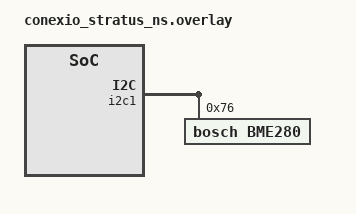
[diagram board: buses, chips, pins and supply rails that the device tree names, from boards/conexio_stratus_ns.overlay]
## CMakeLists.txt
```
#
# Copyright (c) 2018 Nordic Semiconductor ASA
# Copyright (c) 2022 Conexio Technologies, Inc
#
# SPDX-License-Identifier: LicenseRef-Nordic-5-Clause
#

cmake_minimum_required(VERSION 3.20.0)
find_package(Zephyr REQUIRED HINTS $ENV{ZEPHYR_BASE})
project(mqtt-datacake)

target_sources(app PRIVATE src/main.c)

zephyr_include_directories(src)

# Include application events and configuration headers
zephyr_library_include_directories(
  src/env_sensors
  src/watchdog
  src/battery
)

# Application sources
add_subdirectory_ifdef(CONFIG_ENVIRONMENT_SENSORS src/env_sensors)
add_subdirectory_ifdef(CONFIG_WATCHDOG src/watchdog)
add_subdirectory_ifdef(CONFIG_ADC src/battery)
```

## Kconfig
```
#
# Copyright (c) 2020 Nordic Semiconductor ASA
# Copyright (c) 2022 Conexio Technologies, Inc
#
# SPDX-License-Identifier: LicenseRef-Nordic-5-Clause
#

menu "Stratus BME280 to Datacake sample"

config APP_VERSION
	string "Application version"
	default "v1.0.0"

config APPLICATION_WORKQUEUE_STACK_SIZE
	int "Application workqueue stack size"
	default 4096

config APPLICATION_WORKQUEUE_PRIORITY
	int "Application workqueue priority"
	default SYSTEM_WORKQUEUE_PRIORITY

config MQTT_USER
	string "MQTT Client username"
	default "my-client-username"

config MQTT_PASS
	string "MQTT Client password"
	default "my-client-password"

config MQTT_PUB_TOPIC_TEMP
	string "MQTT publish topic temperature data"
	default "my/publish/topic"

config MQTT_PUB_TOPIC_HUM
	string "MQTT publish topic humidity data"
	default "my/publish/topic"

config MQTT_PUB_TOPIC_PRES
	string "MQTT publish topic pressure data"
	default "my/publish/topic"

config MQTT_PUB_TOPIC_VER
	string "MQTT application version"
	default APP_VERSION

config MQTT_PUB_TOPIC_IMEI
	string "MQTT device client ID"
	default "my-client-id"

config MQTT_PUB_TOPIC_BAT
	string "Modem battery voltage"
	default "0"

config MQTT_PUB_TOPIC_RSRP
	string "Modem Reference Signal Received Power"
	default "0"

config MQTT_PUB_TOPIC_BUTTON
	string "Stratus button state"
	default "0"

config MQTT_SUB_TOPIC
	string "MQTT subscribe topic"
	default "my/subscribe/topic"

config MQTT_CLIENT_ID
	string "MQTT Client ID"
	default "my-client-id"

config MQTT_BROKER_HOSTNAME
	string "MQTT broker hostname"
	default "mqtt.eclipseprojects.io"

config MQTT_BROKER_PORT
	int "MQTT broker port"
	default 1883

config MQTT_MESSAGE_BUFFER_SIZE
	int "MQTT message buffer size"
	default 128

config MQTT_PAYLOAD_BUFFER_SIZE
	int "MQTT payload buffer size"
	default 128

config BUTTON_EVENT_PUBLISH_MSG
	string "Default values to publish on a button event"
	default "25.5"

config BUTTON_EVENT_BTN_NUM
	int "The button number"
	default 1

config MQTT_RECONNECT_DELAY_S
	int "Seconds to delay before attempting to reconnect to the broker."
	default 60

config LTE_CONNECT_RETRY_DELAY_S
	int "Seconds to delay before attempting to retry LTE connection."
	default 120

config MQTT_TLS_SEC_TAG
	int "TLS credentials security tag"
	default 24

config MQTT_TLS_SESSION_CACHING
	bool "Enable TLS session caching"

config MQTT_TLS_PEER_VERIFY
	int "Set peer verification level"
	default 0
	help
		Set to 0 for VERIFY_NONE, 1 for VERIFY_OPTIONAL, and 2 for
		VERIFY_REQUIRED.

menuconfig ENVIRONMENT_SENSORS
	bool "Enable environment sensing"
	default y
	help
	  Enables environment sensing with Stratus sensors.

if ENVIRONMENT_SENSORS

config ENVIRONMENT_DATA_SEND_INTERVAL
	int "Interval in seconds for sending environment data"
	default 3600
	help
	  Interval between each sampling and sending of environment sensor data.
	  The unit is seconds.

endif # ENVIRONMENT_SENSORS

config CLOUD_MESSAGE_PUBLICATION_INTERVAL
	int "Sets how often the custom message should be published to cloud, in seconds"
	default 7200

config WATCHDOG_TIMEOUT_MSEC
	int "Watchdog timeout in milliseconds"
	default 60000

endmenu

menu "Zephyr Kernel"
source "Kconfig.zephyr"
endmenu

module = MQTT_DATACAKE
module-str = MQTT Datacake
source "${ZEPHYR_BASE}/subsys/logging/Kconfig.template.log_config"
```

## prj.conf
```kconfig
#
# Copyright (c) 2020 Nordic Semiconductor ASA
# Copyright (c) 2022 Conexio Technologies, Inc
#
# SPDX-License-Identifier: LicenseRef-Nordic-5-Clause
#

# Networking
CONFIG_NETWORKING=y
CONFIG_NET_NATIVE=n
CONFIG_NET_SOCKETS_OFFLOAD=y
CONFIG_NET_SOCKETS=y
CONFIG_NET_SOCKETS_POSIX_NAMES=y

# LTE link control
CONFIG_LTE_LINK_CONTROL=y
CONFIG_LTE_NETWORK_MODE_LTE_M=y
CONFIG_LTE_AUTO_INIT_AND_CONNECT=n

# LTE parameters
## PSM
CONFIG_LTE_PSM_REQ_RPTAU="00100001"
CONFIG_LTE_PSM_REQ_RAT="00000000"

## eDRX
CONFIG_LTE_EDRX_REQ_VALUE_LTE_M="1001"

# Modem library
CONFIG_NRF_MODEM_LIB=y

# Modem info
CONFIG_MODEM_INFO=y

# AT Host
CONFIG_UART_INTERRUPT_DRIVEN=y
CONFIG_AT_HOST_LIBRARY=y

# MQTT
CONFIG_MQTT_LIB=y
CONFIG_MQTT_LIB_TLS=y
CONFIG_MQTT_CLEAN_SESSION=y
CONFIG_MQTT_KEEPALIVE=1200

# Modem key management, for provisioning certificates
CONFIG_MODEM_KEY_MGMT=y

# MQTT application configuration authentication
CONFIG_MQTT_PASS=""
CONFIG_MQTT_USER=""

# MQTT topics for recording measurement values
# Change this as per your Datacake MQTT Integration and fields
CONFIG_MQTT_PUB_TOPIC_TEMP="dtck-pub/conexio-stratus/4fbfe839-c8aa-4882-a890-02f981753f6d/TEMPERATURE"
CONFIG_MQTT_PUB_TOPIC_HUM="dtck-pub/conexio-stratus/4fbfe839-c8aa-4882-a890-02f981753f6d/HUMIDITY"
CONFIG_MQTT_PUB_TOPIC_PRES="dtck-pub/conexio-stratus/4fbfe839-c8aa-4882-a890-02f981753f6d/PRESSURE"
CONFIG_MQTT_PUB_TOPIC_VER="dtck-pub/conexio-stratus/4fbfe839-c8aa-4882-a890-02f981753f6d/VERSION"
CONFIG_MQTT_PUB_TOPIC_IMEI="dtck-pub/conexio-stratus/4fbfe839-c8aa-4882-a890-02f981753f6d/IMEI"
CONFIG_MQTT_PUB_TOPIC_BAT="dtck-pub/conexio-stratus/4fbfe839-c8aa-4882-a890-02f981753f6d/BATTERY"
CONFIG_MQTT_PUB_TOPIC_RSRP="dtck-pub/conexio-stratus/4fbfe839-c8aa-4882-a890-02f981753f6d/RSRP"
CONFIG_MQTT_PUB_TOPIC_BUTTON="dtck-pub/conexio-stratus/4fbfe839-c8aa-4882-a890-02f981753f6d/BUTTON"

# MQTT subscription topics
CONFIG_MQTT_SUB_TOPIC="dtck/conexio-stratus/4fbfe839-c8aa-4882-a890-02f981753f6d/+"

# MQTT broker configuration
CONFIG_MQTT_BROKER_HOSTNAME="mqtt.datacake.co"
CONFIG_MQTT_BROKER_PORT=8883

# Stratus Sensors
CONFIG_I2C=y
CONFIG_SENSOR=y

# Enable BME280 sensor
CONFIG_BME280=y
CONFIG_SENSOR_LOG_LEVEL_DBG=y

# Enable watchdog timer
CONFIG_WATCHDOG=y

# Enable fuel guage
CONFIG_ADC=y

# Button support
CONFIG_DK_LIBRARY=y

# Library that maintains the current date time UTC.
CONFIG_DATE_TIME=y

CONFIG_CBPRINTF_FP_SUPPORT=y

# Enable logging
CONFIG_LOG=y
CONFIG_MQTT_DATACAKE_LOG_LEVEL_DBG=y

# Memory
CONFIG_MAIN_STACK_SIZE=4096
CONFIG_HEAP_MEM_POOL_SIZE=2048

# Enable Zephyr application to be booted by MCUboot
CONFIG_BOOTLOADER_MCUBOOT=y

# NewLib C
CONFIG_NEWLIB_LIBC=y
```

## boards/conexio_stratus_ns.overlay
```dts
/*
 * Copyright (c) 2022 Conexio Technologies, Inc
 *
 * SPDX-License-Identifier: Apache-2.0
 */

/*
 * Example configuration of a BME280 MIKROE-1978 Click board on Stratus Shield I2C bus.
 *
 * Device address is 0x76. Your device may have a different
 * address; check your device documentation if unsure.
 */
&i2c1 {
	status = "okay";
	bme280@76 {
		compatible = "bosch,bme280";
		reg = <0x76>;
		label = "BME280";
	};
};
```

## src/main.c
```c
/*
 * Copyright (c) 2018 Nordic Semiconductor ASA
 * Copyright (c) 2021 Conexio Technologies, Inc
 * 
 * SPDX-License-Identifier: LicenseRef-Nordic-5-Clause
 */

#include <zephyr.h>
#include <stdio.h>
#include <drivers/uart.h>
#include <string.h>
#include <random/rand32.h>
#include <net/mqtt.h>
#include <nrf_modem.h>
#include <net/socket.h>
#include <modem/lte_lc.h>
#include <modem/at_cmd.h>
#include <modem/at_notif.h>
#include <modem/modem_info.h>
#include <logging/log.h>
#if defined(CONFIG_MODEM_KEY_MGMT)
#include <modem/modem_key_mgmt.h>
#endif
#if defined(CONFIG_LWM2M_CARRIER)
#include <lwm2m_carrier.h>
#endif
#include <dk_buttons_and_leds.h>

#include "certificates.h"
#include "env_sensors.h"
#include "watchdog.h"
#include "battery.h"

#include <math.h>
#include <stdlib.h>

LOG_MODULE_REGISTER(mqtt_app, CONFIG_MQTT_DATACAKE_LOG_LEVEL);

static struct k_work_delayable cloud_update_work;

/* Define the length of the IMEI AT COMMAND response buffer */
#define CGSN_RESP_LEN 19
#define IMEI_LEN 20
uint8_t client_id[IMEI_LEN];

/* Stratus button state data. Not pressed on default */
char button_state_data[] = "0";

/* Buffers for MQTT client. */
static uint8_t rx_buffer[CONFIG_MQTT_MESSAGE_BUFFER_SIZE];
static uint8_t tx_buffer[CONFIG_MQTT_MESSAGE_BUFFER_SIZE];
static uint8_t payload_buf[CONFIG_MQTT_PAYLOAD_BUFFER_SIZE];

/* The mqtt client struct */
static struct mqtt_client client;

/* MQTT Broker details. */
static struct sockaddr_storage broker;

/* File descriptor */
static struct pollfd fds;

/* Struct that holds data from the modem information module. */
static struct modem_param_info modem_param;
/* Value that always holds the latest RSRP value. */
int32_t rsrp_value_latest;

/* Stack definition for application workqueue */
K_THREAD_STACK_DEFINE(application_stack_area,
		      CONFIG_APPLICATION_WORKQUEUE_STACK_SIZE);
static struct k_work_q application_work_q;

/* Forward declaration of functions */
#if defined(CONFIG_ENVIRONMENT_SENSORS)
static void env_data_send(void);
#endif
static void sensors_init(void);

static int data_publish(struct mqtt_client *c, enum mqtt_qos qos, 
			char *pub_topic, uint8_t *data, size_t len);

#if CONFIG_MODEM_INFO
static void modem_rsrp_data_send(void);
#endif /* CONFIG_MODEM_INFO */

#if defined(CONFIG_APP_VERSION)
/**@brief Send application version information to Datacake. */
static void app_version_info_send(void)
{
	int err;
	err = data_publish(&client,
					MQTT_QOS_1_AT_LEAST_ONCE,
					CONFIG_MQTT_PUB_TOPIC_VER,
					CONFIG_APP_VERSION,
					sizeof(CONFIG_APP_VERSION)-1);

	if (err) {
		LOG_ERR("Publishing of app_version_info failed: %d", err);
	}
}
#endif /* CONFIG_APP_VERSION */

/* Publish the Stratus button state */
static void button_state_info_send(void)
{
	int err;
	err = data_publish(&client,
					MQTT_QOS_1_AT_LEAST_ONCE,
					CONFIG_MQTT_PUB_TOPIC_BUTTON,
					button_state_data,
					sizeof(button_state_data)-1);

	if (err) {
		LOG_ERR("Publishing of button_state_data failed: %d", err);
	}	
}

/**@brief Send client ID information to Datacake. */
static void client_id_send(void)
{
	int err;
	err = data_publish(&client,
					MQTT_QOS_1_AT_LEAST_ONCE,
					CONFIG_MQTT_PUB_TOPIC_IMEI,
					client_id,
					strlen(client_id));

	if (err) {
		LOG_ERR("Publishing of client_id failed: %d", err);
	}
}

/* Request battery voltage data from the fuel guage circuit and publish to cloud */
static void modem_battery_voltage_send(void)
{
	int err;
	int16_t bat_voltage = 0;
	char buf[CONFIG_MQTT_PAYLOAD_BUFFER_SIZE] = {0};

	bat_voltage = battery_sample();

	if (bat_voltage < 0) {
		LOG_ERR("Failed to read battery voltage: %d\n", bat_voltage);
	}
	else 
	{
		LOG_INF("Device battery: %d mV", bat_voltage);
	}

	/* Composes a string formatting for the data */
	snprintf(buf, sizeof(buf),"%u", bat_voltage);

	err = data_publish(&client,
					MQTT_QOS_1_AT_LEAST_ONCE,
					CONFIG_MQTT_PUB_TOPIC_BAT,
					buf,
					strlen(buf)); //since MQTT publishes string format

	if (err) {
		LOG_ERR("Publishing of batt volt failed: %d", err);
	}
}

#if defined(CONFIG_ENVIRONMENT_SENSORS)
/**@brief Get environment data from sensors and send to cloud. */
static void env_data_send(void)
{
	int err;
	env_sensor_data_t env_data;
	char buf[CONFIG_MQTT_PAYLOAD_BUFFER_SIZE] = {0};

	env_sensors_set_backoff_enable(false);

	if (env_sensors_get_temperature(&env_data) == 0) {
		/* Sanity check to make sure data is actually from temperature sensor */
		if(env_data.type == ENV_SENSOR_TEMPERATURE){

			snprintk(buf, sizeof(buf),"%.2f", env_data.value);
			err = data_publish(&client,
					MQTT_QOS_1_AT_LEAST_ONCE,
					CONFIG_MQTT_PUB_TOPIC_TEMP,
					buf,
					strlen(buf));

			if (err) {
				goto error;
			}
		}	
	}

	if (env_sensors_get_humidity(&env_data) == 0) {
		/* Sanity check to make sure data is actually from humidity sensor */
		if(env_data.type == ENV_SENSOR_HUMIDITY){
			snprintk(buf, sizeof(buf),"%.2f", env_data.value);
			err = data_publish(&client,
					MQTT_QOS_1_AT_LEAST_ONCE,
					CONFIG_MQTT_PUB_TOPIC_HUM,
					buf,
					strlen(buf));

			if (err) {
				goto error;
			}
		}
	}

	if (env_sensors_get_pressure(&env_data) == 0) {
		/* Sanity check to make sure data is actually from humidity sensor */
		if(env_data.type == ENV_SENSOR_AIR_PRESSURE){
			snprintk(buf, sizeof(buf),"%.2f", env_data.value);
			err = data_publish(&client,
					MQTT_QOS_1_AT_LEAST_ONCE,
					CONFIG_MQTT_PUB_TOPIC_PRES,
					buf,
					strlen(buf));

			if (err) {
				goto error;
			}
		}
	}

	return;
error:
	LOG_ERR("sensor_data_send failed: %d", err);
}
#endif /* CONFIG_ENVIRONMENT_SENSORS */

/* Periodically Update the cloud with the device vitals */
static void cloud_update_work_fn(struct k_work *work)
{
	LOG_INF("Sending device vitals to cloud at intervals of %d sec", 
			CONFIG_CLOUD_MESSAGE_PUBLICATION_INTERVAL);

	modem_battery_voltage_send();
	modem_rsrp_data_send();
	button_state_info_send();

	k_work_schedule(
			&cloud_update_work,
			K_SECONDS(CONFIG_CLOUD_MESSAGE_PUBLICATION_INTERVAL));
}

static void work_init(void)
{
	k_work_init_delayable(&cloud_update_work, cloud_update_work_fn);
}

/**@brief Initializes the sensors that are used by the application. */
static void sensors_init(void)
{
#if defined(CONFIG_ENVIRONMENT_SENSORS)
	env_sensors_init_and_start(&application_work_q, env_data_send);
#endif /* CONFIG_ENVIRONMENT_SENSORS */

}
#if defined(CONFIG_MQTT_LIB_TLS)
static int certificates_provision(void)
{
	int err = 0;

	LOG_INF("Provisioning certificates");

#if defined(CONFIG_NRF_MODEM_LIB) && defined(CONFIG_MODEM_KEY_MGMT)

	err = modem_key_mgmt_write(CONFIG_MQTT_TLS_SEC_TAG,
				   MODEM_KEY_MGMT_CRED_TYPE_CA_CHAIN,
				   CA_CERTIFICATE,
				   strlen(CA_CERTIFICATE));
	if (err) {
		LOG_ERR("Failed to provision CA certificate: %d", err);
		return err;
	}

#elif defined(CONFIG_BOARD_QEMU_X86) && defined(CONFIG_NET_SOCKETS_SOCKOPT_TLS)

	err = tls_credential_add(CONFIG_MQTT_TLS_SEC_TAG,
				 TLS_CREDENTIAL_CA_CERTIFICATE,
				 CA_CERTIFICATE,
				 sizeof(CA_CERTIFICATE));
	if (err) {
		LOG_ERR("Failed to register CA certificate: %d", err);
		return err;
	}

#endif

	return err;
}
#endif /* defined(CONFIG_MQTT_LIB_TLS) */

#if defined(CONFIG_NRF_MODEM_LIB)

/**@brief Recoverable modem library error. */
void nrf_modem_recoverable_error_handler(uint32_t err)
{
	LOG_ERR("Modem library recoverable error: %u", (unsigned int)err);
}

#endif /* defined(CONFIG_NRF_MODEM_LIB) */

#if defined(CONFIG_LWM2M_CARRIER)
K_SEM_DEFINE(carrier_registered, 0, 1);
int lwm2m_carrier_event_handler(const lwm2m_carrier_event_t *event)
{
	switch (event->type) {
	case LWM2M_CARRIER_EVENT_BSDLIB_INIT:
		LOG_INF("LWM2M_CARRIER_EVENT_BSDLIB_INIT");
		break;
	case LWM2M_CARRIER_EVENT_CONNECTING:
		LOG_INF("LWM2M_CARRIER_EVENT_CONNECTING");
		break;
	case LWM2M_CARRIER_EVENT_CONNECTED:
		LOG_INF("LWM2M_CARRIER_EVENT_CONNECTED");
		break;
	case LWM2M_CARRIER_EVENT_DISCONNECTING:
		LOG_INF("LWM2M_CARRIER_EVENT_DISCONNECTING");
		break;
	case LWM2M_CARRIER_EVENT_DISCONNECTED:
		LOG_INF("LWM2M_CARRIER_EVENT_DISCONNECTED");
		break;
	case LWM2M_CARRIER_EVENT_BOOTSTRAPPED:
		LOG_INF("LWM2M_CARRIER_EVENT_BOOTSTRAPPED");
		break;
	case LWM2M_CARRIER_EVENT_REGISTERED:
		LOG_INF("LWM2M_CARRIER_EVENT_REGISTERED");
		k_sem_give(&carrier_registered);
		break;
	case LWM2M_CARRIER_EVENT_DEFERRED:
		LOG_INF("LWM2M_CARRIER_EVENT_DEFERRED");
		break;
	case LWM2M_CARRIER_EVENT_FOTA_START:
		LOG_INF("LWM2M_CARRIER_EVENT_FOTA_START");
		break;
	case LWM2M_CARRIER_EVENT_REBOOT:
		LOG_INF("LWM2M_CARRIER_EVENT_REBOOT");
		break;
	case LWM2M_CARRIER_EVENT_LTE_READY:
		LOG_INF("LWM2M_CARRIER_EVENT_LTE_READY");
		break;
	case LWM2M_CARRIER_EVENT_ERROR:
		LOG_ERR("LWM2M_CARRIER_EVENT_ERROR: code %d, value %d",
			((lwm2m_carrier_event_error_t *)event->data)->code,
			((lwm2m_carrier_event_error_t *)event->data)->value);
		break;
	default:
		LOG_WRN("Unhandled LWM2M_CARRIER_EVENT: %d", event->type);
		break;
	}

	return 0;
}
#endif /* defined(CONFIG_LWM2M_CARRIER) */

/**@brief Function to print strings without null-termination
 */
static void data_print(uint8_t *prefix, uint8_t *data, size_t len)
{
	char buf[len + 1];

	memcpy(buf, data, len);
	buf[len] = 0;
	LOG_INF("%s%s", log_strdup(prefix), log_strdup(buf));
}

/**@brief Function to publish data on the configured topic */
static int data_publish(struct mqtt_client *c, enum mqtt_qos qos, char *pub_topic,
	uint8_t *data, size_t len)
{
	struct mqtt_publish_param param;

	param.message.topic.qos = qos;
	param.message.topic.topic.utf8 = (uint8_t *)pub_topic;
	param.message.topic.topic.size = strlen(param.message.topic.topic.utf8);
	param.message.payload.data = data;
	param.message.payload.len = len;
	param.message_id = sys_rand32_get();
	param.dup_flag = 0;
	param.retain_flag = 0;

	data_print("Publishing: ", data, len);
	LOG_INF("to topic: %s len: %u",
		param.message.topic.topic.utf8, param.message.topic.topic.size);

    return mqtt_publish(c, &param);
}

/**@brief Function to subscribe to the configured topic
 */
static int subscribe(void)
{
	struct mqtt_topic subscribe_topic = {
		.topic = {
			.utf8 = CONFIG_MQTT_SUB_TOPIC,
			.size = strlen(CONFIG_MQTT_SUB_TOPIC)
		},
		.qos = MQTT_QOS_1_AT_LEAST_ONCE
	};

	const struct mqtt_subscription_list subscription_list = {
		.list = &subscribe_topic,
		.list_count = 1,
		.message_id = 1234
	};

	LOG_INF("Subscribing to: %s len %u", CONFIG_MQTT_SUB_TOPIC,
		(unsigned int)strlen(CONFIG_MQTT_SUB_TOPIC));

	return mqtt_subscribe(&client, &subscription_list);
}

/**@brief Function to read the published payload */
static int publish_get_payload(struct mqtt_client *c, size_t length)
{
	if (length > sizeof(payload_buf)) {
		return -EMSGSIZE;
	}

	return mqtt_readall_publish_payload(c, payload_buf, length);
}

/**@brief MQTT client event handler */
void mqtt_evt_handler(struct mqtt_client *const c,
		      const struct mqtt_evt *evt)
{
	int err;

	switch (evt->type) {
	case MQTT_EVT_CONNACK:
		if (evt->result != 0) {
			LOG_ERR("MQTT connect failed: %d", evt->result);
			break;
		}

		LOG_INF("MQTT client connected");
		subscribe();
		break;

	case MQTT_EVT_DISCONNECT:
		LOG_INF("MQTT client disconnected: %d", evt->result);
		break;

	case MQTT_EVT_PUBLISH: {
		const struct mqtt_publish_param *p = &evt->param.publish;

		LOG_INF("MQTT PUBLISH result=%d len=%d",
			evt->result, p->message.payload.len);

		err = publish_get_payload(c, p->message.payload.len);

		if (p->message.topic.qos == MQTT_QOS_1_AT_LEAST_ONCE) {
			const struct mqtt_puback_param ack = {
				.message_id = p->message_id
			};

			/* Send acknowledgment. */
			mqtt_publish_qos1_ack(&client, &ack);
		}

		if (err >= 0) {
			data_print("Received: ", payload_buf,
				p->message.payload.len);
		} else {
			LOG_ERR("publish_get_payload failed: %d", err);
			LOG_INF("Disconnecting MQTT client...");

			err = mqtt_disconnect(c);
			if (err) {
				LOG_ERR("Could not disconnect: %d", err);
			}
		}
	} break;

	case MQTT_EVT_PUBACK:
		if (evt->result != 0) {
			LOG_ERR("MQTT PUBACK error: %d", evt->result);
			break;
		}

		LOG_INF("PUBACK packet id: %u", evt->param.puback.message_id);
		break;

	case MQTT_EVT_SUBACK:
		if (evt->result != 0) {
			LOG_ERR("MQTT SUBACK error: %d", evt->result);
			break;
		}

		LOG_INF("SUBACK packet id: %u", evt->param.suback.message_id);
		break;

	case MQTT_EVT_PINGRESP:
		if (evt->result != 0) {
			LOG_ERR("MQTT PINGRESP error: %d", evt->result);
		}
		break;

	default:
		LOG_INF("Unhandled MQTT event type: %d", evt->type);
		break;
	}
}

/**@brief Resolves the configured hostname and
 * initializes the MQTT broker structure
 */
static int broker_init(void)
{
	int err;
	struct addrinfo *result;
	struct addrinfo *addr;
	struct addrinfo hints = {
		.ai_family = AF_INET,
		.ai_socktype = SOCK_STREAM
	};

	err = getaddrinfo(CONFIG_MQTT_BROKER_HOSTNAME, NULL, &hints, &result);
	if (err) {
		LOG_ERR("getaddrinfo failed: %d", err);
		return -ECHILD;
	}

	addr = result;

	/* Look for address of the broker. */
	while (addr != NULL) {
		/* IPv4 Address. */
		if (addr->ai_addrlen == sizeof(struct sockaddr_in)) {
			struct sockaddr_in *broker4 =
				((struct sockaddr_in *)&broker);
			char ipv4_addr[NET_IPV4_ADDR_LEN];

			broker4->sin_addr.s_addr =
				((struct sockaddr_in *)addr->ai_addr)
				->sin_addr.s_addr;
			broker4->sin_family = AF_INET;
			broker4->sin_port = htons(CONFIG_MQTT_BROKER_PORT);

			inet_ntop(AF_INET, &broker4->sin_addr.s_addr,
				  ipv4_addr, sizeof(ipv4_addr));
			LOG_INF("IPv4 Address found %s", log_strdup(ipv4_addr));

			break;
		} else {
			LOG_ERR("ai_addrlen = %u should be %u or %u",
				(unsigned int)addr->ai_addrlen,
				(unsigned int)sizeof(struct sockaddr_in),
				(unsigned int)sizeof(struct sockaddr_in6));
		}

		addr = addr->ai_next;
	}

	/* Free the address. */
	freeaddrinfo(result);

	return err;
}

/**@brief Get the device IMEI number/ID */
static const uint8_t* client_id_get(void)
{
	enum at_cmd_state at_state;
	char imei_buf[CGSN_RESP_LEN];
	int err;

	/* Initialize AT CMD driver */
	err = at_cmd_init();
	if (err) {
		LOG_ERR("at_cmd failed to initialize, error: %d", err);
	}
    /* Write AT command, read and store the IMEI number */
	err = at_cmd_write("AT+CGSN", imei_buf, sizeof(imei_buf), &at_state);

	if (err) {
		LOG_ERR("Error when trying to do at_cmd_write: %d, at_state: %d",
			err, at_state);
	}
	snprintf(client_id, sizeof(client_id), "%s", imei_buf);

	return client_id;
}

/**@brief Initialize the MQTT client structure */
static int client_init(struct mqtt_client *client)
{
	int err;

	mqtt_client_init(client);

	err = broker_init();
	if (err) {
		LOG_ERR("Failed to initialize broker connection");
		return err;
	}
    
	/* Fetch the client ID which will be stored in client_id buffer*/
	LOG_INF("client_id: %s", log_strdup(client_id_get()));

	struct mqtt_utf8 pass, user;
	pass.utf8 = (uint8_t *)CONFIG_MQTT_PASS;
	pass.size = strlen(pass.utf8);

	user.utf8 = (uint8_t *)CONFIG_MQTT_USER;
	user.size = strlen(user.utf8);

	/* MQTT client configuration */
	client->broker = &broker;
	client->evt_cb = mqtt_evt_handler;
	client->client_id.utf8 = (uint8_t *)CONFIG_MQTT_CLIENT_ID;
	client->client_id.size = strlen(CONFIG_MQTT_CLIENT_ID);
	client->password = &pass;
	client->user_name = &user;
	client->protocol_version = MQTT_VERSION_3_1_1;

	/* MQTT buffers configuration */
	client->rx_buf = rx_buffer;
	client->rx_buf_size = sizeof(rx_buffer);
	client->tx_buf = tx_buffer;
	client->tx_buf_size = sizeof(tx_buffer);

	/* MQTT transport configuration */
#if defined(CONFIG_MQTT_LIB_TLS)
	struct mqtt_sec_config *tls_cfg = &(client->transport).tls.config;
	static sec_tag_t sec_tag_list[] = { CONFIG_MQTT_TLS_SEC_TAG };

	LOG_INF("TLS enabled");
	client->transport.type = MQTT_TRANSPORT_SECURE;

	tls_cfg->peer_verify = CONFIG_MQTT_TLS_PEER_VERIFY;
	tls_cfg->cipher_count = 0;
	tls_cfg->cipher_list = NULL;
	tls_cfg->sec_tag_count = ARRAY_SIZE(sec_tag_list);
	tls_cfg->sec_tag_list = sec_tag_list;
	tls_cfg->hostname = CONFIG_MQTT_BROKER_HOSTNAME;

#if defined(CONFIG_NRF_MODEM_LIB)
	tls_cfg->session_cache = IS_ENABLED(CONFIG_MQTT_TLS_SESSION_CACHING) ?
					    TLS_SESSION_CACHE_ENABLED :
					    TLS_SESSION_CACHE_DISABLED;
#else
	/* TLS session caching is not supported by the Zephyr network stack */
	tls_cfg->session_cache = TLS_SESSION_CACHE_DISABLED;

#endif

#else
	client->transport.type = MQTT_TRANSPORT_NON_SECURE;
#endif

	return err;
}

/**@brief Initialize the file descriptor structure used by poll */
static int fds_init(struct mqtt_client *c)
{
	if (c->transport.type == MQTT_TRANSPORT_NON_SECURE) {
		fds.fd = c->transport.tcp.sock;
	} else {
#if defined(CONFIG_MQTT_LIB_TLS)
		fds.fd = c->transport.tls.sock;
#else
		return -ENOTSUP;
#endif
	}

	fds.events = POLLIN;

	return 0;
}

/* Publish device data on button press */
static void button_handler(uint32_t button_states, uint32_t has_changed)
{
	if (has_changed & button_states & BIT(CONFIG_BUTTON_EVENT_BTN_NUM - 1)) {
		button_state_data[0] = '1';
		
		app_version_info_send();
		client_id_send();
		env_data_send();

		k_work_schedule(&cloud_update_work, K_NO_WAIT);
	}
	else {
		button_state_data[0] = '0';
	}
}

#if CONFIG_MODEM_INFO
static void modem_rsrp_handler(char rsrp_value)
{
	/* RSRP raw values that represent actual signal strength are
	 * 0 through 97 (per "nRF91 AT Commands" v1.1).
	 */
	if (rsrp_value > 97) {
		return;
	}
	/* Set temporary variable to hold RSRP value. RSRP callbacks and other
	 * data from the modem info module are retrieved separately.
	 * This temporarily saves the latest value which are sent to
	 * the Data module upon a modem data request.
	 */
	rsrp_value_latest = rsrp_value;

	LOG_DBG("Incoming RSRP status message, RSRP value is %d",
		rsrp_value_latest);
}

/**@brief Publish RSRP data to the cloud. */
static void modem_rsrp_data_send(void)
{
	int err;
	char buf[CONFIG_MQTT_PAYLOAD_BUFFER_SIZE] = {0};
	static int32_t rsrp_prev; /* RSRP value last sent to cloud */
	int32_t rsrp_current;

	/* The RSRP value is copied locally to avoid any race condition */
	/* Take into account the RSRP offset value */
	rsrp_current = rsrp_value_latest - MODEM_INFO_RSRP_OFFSET_VAL;

	LOG_INF("RSRP: %d", rsrp_current);
    
	/* If last sent data to cloud is same as current, skip publishing */
	if (rsrp_current == rsrp_prev) {
		return;
	}
	
	snprintf(buf, sizeof(buf),"%d", rsrp_current);
	err = data_publish(&client,
					MQTT_QOS_1_AT_LEAST_ONCE,
					CONFIG_MQTT_PUB_TOPIC_RSRP,
					buf,
					strlen(buf));

	if (err) {
		LOG_ERR("Publishing of RSRP info failed: %d", err);
	}
	rsrp_prev = rsrp_current;
}

static int modem_data_init(void)
{
	int err;

	err = modem_info_init();
	if (err) {
		LOG_INF("modem_info_init, error: %d", err);
		return err;
	}

	err = modem_info_params_init(&modem_param);
	if (err) {
		LOG_INF("modem_info_params_init, error: %d", err);
		return err;
	}

	err = modem_info_rsrp_register(modem_rsrp_handler);
	if (err) {
		LOG_INF("modem_info_rsrp_register, error: %d", err);
		return err;
	}

	return 0;
}
#endif /* CONFIG_MODEM_INFO */

/**@brief Configures modem to provide LTE link. Blocks until link is
 * successfully established.
 */
static int modem_configure(void)
{
	LOG_INF("Enabling PSM and eDRX");
	lte_lc_psm_req(true);
	lte_lc_edrx_req(true);

#if defined(CONFIG_LTE_LINK_CONTROL)
	if (IS_ENABLED(CONFIG_LTE_AUTO_INIT_AND_CONNECT)) {
		/* Do nothing, modem is already turned on
		 * and connected.
		 */
	} else {
#if defined(CONFIG_LWM2M_CARRIER)
		/* Wait for the LWM2M_CARRIER to configure the modem and
		 * start the connection.
		 */
		LOG_INF("Waitng for carrier registration...");
		k_sem_take(&carrier_registered, K_FOREVER);
		LOG_INF("Registered!");
#else /* defined(CONFIG_LWM2M_CARRIER) */
		int err;

		LOG_INF("LTE Link Connecting...");
		err = lte_lc_init_and_connect();
		if (err) {
			LOG_INF("Failed to establish LTE connection: %d", err);
			return err;
		}
		LOG_INF("LTE Link Connected!");
#endif /* defined(CONFIG_LWM2M_CARRIER) */
	}
#endif /* defined(CONFIG_LTE_LINK_CONTROL) */

	return 0;
}

void main(void)
{
	int err;
	uint32_t connect_attempt = 0;

	LOG_INF("Stratus BME280 -> Datacake sample started, version: %s", CONFIG_APP_VERSION);

	k_work_queue_start(&application_work_q, application_stack_area,
		       K_THREAD_STACK_SIZEOF(application_stack_area),
		       CONFIG_APPLICATION_WORKQUEUE_PRIORITY, NULL);

	if (IS_ENABLED(CONFIG_WATCHDOG)) {
		watchdog_init_and_start(&application_work_q);
	}

#if defined(CONFIG_MQTT_LIB_TLS)
	err = certificates_provision();
	if (err != 0) {
		LOG_ERR("Failed to provision certificates");
		return;
	}
#endif /* defined(CONFIG_MQTT_LIB_TLS) */

	do {
		err = modem_configure();
		if (err) {
			LOG_INF("Retrying in %d seconds",
				CONFIG_LTE_CONNECT_RETRY_DELAY_S);
			k_sleep(K_SECONDS(CONFIG_LTE_CONNECT_RETRY_DELAY_S));
		}
	} while (err);

#if CONFIG_MODEM_INFO
	err = modem_data_init();
	if (err) {
		LOG_ERR("modem_data_init, error: %d\n", err);
	}
#endif /* CONFIG_MODEM_INFO */

	err = client_init(&client);
	if (err != 0) {
		LOG_ERR("client_init: %d", err);
		return;
	}
    
	work_init();
	dk_buttons_init(button_handler);
	sensors_init();

	int rc = battery_measure_enable(true);

	if (rc != 0) {
		LOG_ERR("Failed to initialize battery measurement: %d\n", rc);
		return;
	}

do_connect:
	if (connect_attempt++ > 0) {
		LOG_INF("Reconnecting in %d seconds...",
			CONFIG_MQTT_RECONNECT_DELAY_S);
		k_sleep(K_SECONDS(CONFIG_MQTT_RECONNECT_DELAY_S));
	}
	err = mqtt_connect(&client);
	if (err != 0) {
		LOG_ERR("mqtt_connect %d", err);
		goto do_connect;
	}

	err = fds_init(&client);
	if (err != 0) {
		LOG_ERR("fds_init: %d", err);
		return;
	}

	while (1) {
		err = poll(&fds, 1, mqtt_keepalive_time_left(&client));
		if (err < 0) {
			LOG_ERR("poll: %d", errno);
			break;
		}

		err = mqtt_live(&client);
		if ((err != 0) && (err != -EAGAIN)) {
			LOG_ERR("ERROR: mqtt_live: %d", err);
			break;
		}

		if ((fds.revents & POLLIN) == POLLIN) {
			err = mqtt_input(&client);
			if (err != 0) {
				LOG_ERR("mqtt_input: %d", err);
				break;
			}
		}

		if ((fds.revents & POLLERR) == POLLERR) {
			LOG_ERR("POLLERR");
			break;
		}

		if ((fds.revents & POLLNVAL) == POLLNVAL) {
			LOG_ERR("POLLNVAL");
			break;
		}
	}

	LOG_INF("Disconnecting MQTT client...");

	err = mqtt_disconnect(&client);
	if (err) {
		LOG_ERR("Could not disconnect MQTT client: %d", err);
	}
	goto do_connect;
}
```
